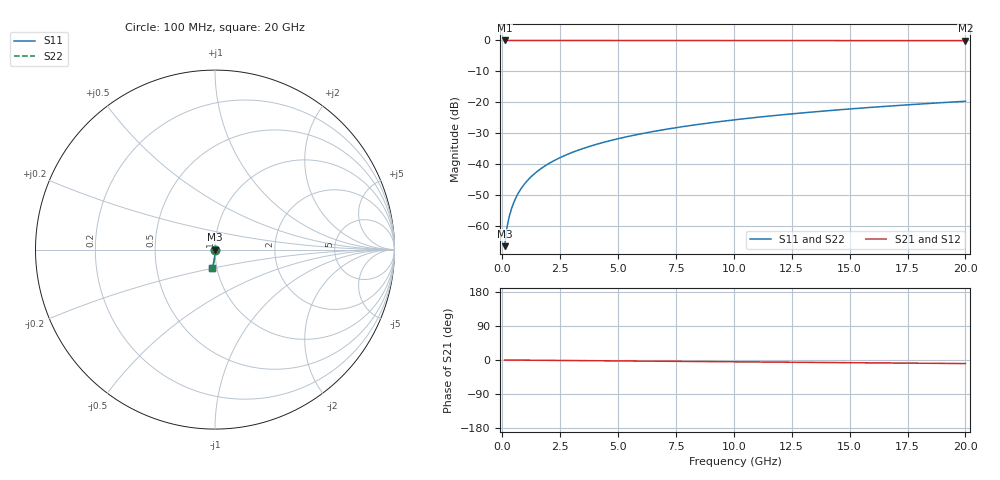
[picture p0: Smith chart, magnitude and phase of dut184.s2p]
! Touchstone file exported from HFSS 2026.1.0
!  File:  C:/ffzhzh/LocalFiles/Ansys_Project_Files/temp_train_TSV_184_1782991368_6248.aedt
!  Generated:  07:24:09 PM Jul  2, 2026
!  Design:  TSV
!  Project:  temp_train_TSV_184_1782991368_6248
! Variables:
!  h_bsmrdl = 2um
!  h_ox = 20um
!  h_rdl = 5um
!  h_sub = 77.33um
!  h_tmrdl = 5um
!  h_tsv = 77.33um
!  h_via = 3um
!  l_bsmrdl = 300um
!  l_sub = 429.92um
!  l_tmrdl = 200um
!  m_sub = 200um
!  pitch = 35.98um
!  r_tsv = 14.96um
!  s_tmrdl = 10um
!  w_bsmrdl = 18um
!  w_sub = 500um
!  w_tmrdl = 12um
!  x_tsv_center1 = 206um
!  x_tsv_center2 = 524um
!  x_tsv_center3 = 736um
!  x_tsv_center4 = 1054um
!  x_tsv_center5 = 1266um
!  x_tsv_center6 = 1584um
# GHz S MA R 50.000000
! Terminal data exported
! Port[1] = TSV1_1_T1
! Port[2] = TSV1_1_T2
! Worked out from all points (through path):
!   200 points, 100 MHz to 20 GHz, reference 50 ohm
!   highest |S21| = 0.00 dB at 100 MHz (marker M1); lowest = -0.1 dB at 20 GHz (marker M2)
!   group delay of S21, straight-line fit = 1.31 ps
!   lowest |S11| = -66.4 dB at 100 MHz (marker M3), VSWR 1.00, Z = 50 - j0.0473 ohm
!   |S11| at or under -10 dB: start of sweep to end of sweep
!   |S22| runs from -66.4 to -19.6 dB; largest |S21 - S12| = 3.9e-15
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0.1  0.00048 -80.2  0.9999 -0.1  0.9999 -0.1  0.00048 -80.2
! Gamma 0 0 0 0
! Port Impedance 50 0 50 0
0.2  0.0009571 -84.0  0.9999 -0.1  0.9999 -0.1  0.0009571 -84.0
0.3  0.001446 -85.0  0.9999 -0.1  0.9999 -0.1  0.001446 -85.0
0.4  0.001945 -85.5  0.9998 -0.2  0.9998 -0.2  0.001945 -85.5
0.5  0.002452 -85.8  0.9998 -0.2  0.9998 -0.2  0.002452 -85.8
0.7  0.003484 -86.4  0.9998 -0.3  0.9998 -0.3  0.003484 -86.4
0.8  0.004005 -86.6  0.9997 -0.4  0.9997 -0.4  0.004005 -86.6
1  0.005051 -87.1  0.9997 -0.5  0.9997 -0.5  0.005051 -87.1
1.2  0.006098 -87.5  0.9997 -0.6  0.9997 -0.6  0.006098 -87.5
1.4  0.007146 -87.9  0.9996 -0.7  0.9996 -0.7  0.007146 -87.9
1.7  0.008716 -88.4  0.9996 -0.8  0.9996 -0.8  0.008716 -88.4
2  0.01029 -88.7  0.9995 -1.0  0.9995 -1.0  0.01029 -88.7
2.7  0.01395 -89.4  0.9994 -1.3  0.9994 -1.3  0.01395 -89.4
3.5  0.01813 -90.1  0.9993 -1.7  0.9993 -1.7  0.01813 -90.1
4.2  0.0218 -90.5  0.9992 -2.0  0.9992 -2.0  0.0218 -90.5
5  0.026 -91.0  0.999 -2.4  0.999 -2.4  0.026 -91.0
6.8  0.03546 -92.1  0.9986 -3.2  0.9986 -3.2  0.03546 -92.1
8.3  0.04335 -92.9  0.9983 -3.9  0.9983 -3.9  0.04335 -92.9
10.1  0.05281 -93.8  0.9977 -4.8  0.9977 -4.8  0.05281 -93.8
13.4  0.0701 -95.5  0.9965 -6.3  0.9965 -6.3  0.0701 -95.5
16.7  0.08732 -97.1  0.995 -7.9  0.995 -7.9  0.08732 -97.1
20  0.1044 -98.7  0.9932 -9.4  0.9932 -9.4  0.1044 -98.7
